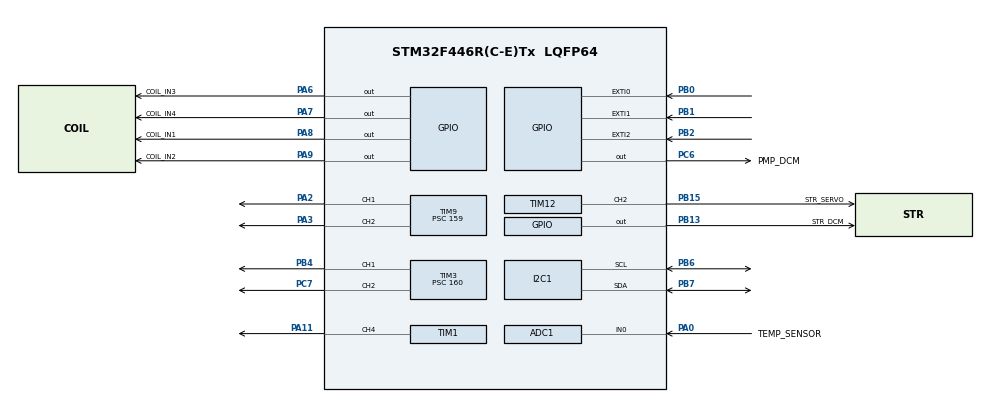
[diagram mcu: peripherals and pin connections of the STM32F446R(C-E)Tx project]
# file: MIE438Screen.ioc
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ADC1.Channel-0\#ChannelRegularConversion=ADC_CHANNEL_0
ADC1.NbrOfConversionFlag=1
ADC1.Rank-0\#ChannelRegularConversion=1
ADC1.SamplingTime-0\#ChannelRegularConversion=ADC_SAMPLETIME_3CYCLES
ADC1.master=1
Mcu.Family=STM32F4
Mcu.Name=STM32F446R(C-E)Tx
Mcu.Package=LQFP64
NVIC.EXTI0_IRQn=true\:0\:0\:false\:false\:true\:true\:true\:true
NVIC.EXTI1_IRQn=true\:0\:0\:false\:false\:true\:true\:true\:true
NVIC.EXTI2_IRQn=true\:0\:0\:false\:false\:true\:true\:true\:true
NVIC.PriorityGroup=NVIC_PRIORITYGROUP_4
NVIC.TIM2_IRQn=true\:0\:0\:false\:false\:true\:true\:true\:true
PA0-WKUP.GPIO_Label=TEMP_SENSOR
PA0-WKUP.Signal=ADCx_IN0
PA11.Signal=S_TIM1_CH4
PA2.Signal=S_TIM9_CH1
PA3.Signal=S_TIM9_CH2
PA6.GPIO_Label=COIL_IN3
PA6.Signal=GPIO_Output
PA7.GPIO_Label=COIL_IN4
PA7.Signal=GPIO_Output
PA8.GPIO_Label=COIL_IN1
PA8.Signal=GPIO_Output
PA9.GPIO_Label=COIL_IN2
PA9.Signal=GPIO_Output
PB0.GPIO_ModeDefaultEXTI=GPIO_MODE_IT_FALLING
PB0.GPIO_PuPd=GPIO_PULLUP
PB0.Signal=GPXTI0
PB1.GPIO_ModeDefaultEXTI=GPIO_MODE_IT_FALLING
PB1.GPIO_PuPd=GPIO_PULLUP
PB1.Signal=GPXTI1
PB13.GPIO_Label=STR_DCM
PB13.Signal=GPIO_Output
PB15.GPIO_Label=STR_SERVO
PB15.Signal=S_TIM12_CH2
PB2.GPIO_ModeDefaultEXTI=GPIO_MODE_IT_FALLING
PB2.GPIO_PuPd=GPIO_PULLUP
PB2.Signal=GPXTI2
PB4.Signal=S_TIM3_CH1
PB6.Mode=I2C
PB6.Signal=I2C1_SCL
PB7.Mode=I2C
PB7.Signal=I2C1_SDA
PC6.GPIO_Label=PMP_DCM
PC6.Signal=GPIO_Output
PC7.Signal=S_TIM3_CH2
ProjectManager.HeapSize=0x200
ProjectManager.StackSize=0x400
ProjectManager.TargetToolchain=STM32CubeIDE
RCC.CortexFreq_Value=16000000
RCC.USBFreq_Value=96000000
RCC.VCOOutputFreq_Value=192000000
SH.ADCx_IN0.0=ADC1_IN0,IN0
SH.S_TIM12_CH2.0=TIM12_CH2,PWM Generation2 CH2
SH.S_TIM1_CH4.0=TIM1_CH4,PWM Generation4 CH4
SH.S_TIM3_CH1.0=TIM3_CH1,PWM Generation1 CH1
SH.S_TIM3_CH2.0=TIM3_CH2,PWM Generation2 CH2
SH.S_TIM9_CH1.0=TIM9_CH1,PWM Generation1 CH1
SH.S_TIM9_CH2.0=TIM9_CH2,PWM Generation2 CH2
TIM1.Channel-PWM\ Generation4\ CH4=TIM_CHANNEL_4
TIM1.Period=2000
TIM1.Prescaler=160
TIM1.Pulse-PWM\ Generation4\ CH4=50
TIM12.Channel-PWM\ Generation2\ CH2=TIM_CHANNEL_2
TIM12.Period=1999
TIM12.Prescaler=159
TIM12.Pulse-PWM\ Generation2\ CH2=50
TIM2.AutoReloadPreload=TIM_AUTORELOAD_PRELOAD_DISABLE
TIM2.Period=2200
TIM2.Prescaler=2399
TIM3.Channel-PWM\ Generation1\ CH1=TIM_CHANNEL_1
TIM3.Channel-PWM\ Generation2\ CH2=TIM_CHANNEL_2
TIM3.Period=2000
TIM3.Prescaler=160
TIM3.Pulse-PWM\ Generation1\ CH1=50
TIM3.Pulse-PWM\ Generation2\ CH2=50
TIM9.Channel-PWM\ Generation1\ CH1=TIM_CHANNEL_1
TIM9.Channel-PWM\ Generation2\ CH2=TIM_CHANNEL_2
TIM9.Period=1999
TIM9.Prescaler=159
TIM9.Pulse-PWM\ Generation2\ CH2=0
VP_TIM12_VS_ClockSourceINT.Mode=Internal
VP_TIM1_VS_ClockSourceINT.Mode=Internal
VP_TIM2_VS_ClockSourceINT.Mode=Internal
VP_TIM3_VS_ClockSourceINT.Mode=Internal
VP_TIM9_VS_ClockSourceINT.Mode=Internal
board=custom

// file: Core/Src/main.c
/* USER CODE BEGIN Header */
/**
  ******************************************************************************
  * @file           : main.c
  * @brief          : Main program body
  ******************************************************************************
  * @attention
  *
  * Copyright (c) 2026 STMicroelectronics.
  * All rights reserved.
  *
  * This software is licensed under terms that can be found in the LICENSE file
  * in the root directory of this software component.
  * If no LICENSE file comes with this software, it is provided AS-IS.
  *
  ******************************************************************************
  */
/* USER CODE END Header */
#include "main.h"

/* USER CODE BEGIN Includes */
#include "ssd1306.h"
#include "characters.h"
#include "screen.h"
#include <stdint.h>
#include <stdbool.h>
#include <math.h>
#include <stdlib.h>

/* USER CODE END Includes */

/* USER CODE BEGIN PD */
/* --- Stirrer Configurations --- */
// Note: These pulse limits assume your TIM12 is set to a 1 MHz clock counting to 20000 (for 50Hz / 20ms period).
// This is typical: e.g., Prescaler = (SystemCoreClock / 1000000) - 1, Counter Period (ARR) = 20000 - 1
#define SERVO_DOWN_PULSE 40 // (~1.0ms pulse) Inside cup
#define SERVO_UP_PULSE   90 // (~1.5ms pulse) 45 deg outside cup

// If we need to toggle the motor
#define STIR_MOTOR_ON  GPIO_PIN_SET
#define STIR_MOTOR_OFF GPIO_PIN_RESET

/* --- Tea servo Configurations --- */
// Note: These pulse limits assume your TIM3 is set to a 1 MHz clock counting to 20000 (for 50Hz / 20ms period).
#define TEA_SERVO_POSITION_0   180 // (~1.0ms pulse) 0 degrees
#define TEA_SERVO_POSITION_180 0 // (~2.0ms pulse) 180 degrees

/* --- Stepper Motor Configurations --- */
#define STEPS_PER_REV 200
#define MICROSTEP_MULTIPLIER 1
#define TOTAL_STEPS (STEPS_PER_REV * MICROSTEP_MULTIPLIER)

/* ---- Kettle bounds --- */
#define LOWER_BOUND 50.0
#define UPPER_BOUND 70.0

// --- Kettle servo ---
#define KETTLE_UP_PULSE 57
#define KETTLE_DOWN_PULSE 0

// --- central stepper location angles ---
#define POWDER_ANGLE 180
#define STUR_ANGLE 242
#define TEA_BAG_ANGLE 145
#define WATER_ANGLE 297
#define RETURN_ANGLE_BONUS 5 // used to ensure the arm gets back to the home point

// --- delay times for physical motion ---
#define STEPPER_DELAY 80
#define BAG_DELAY 2000
#define STURRER_SERVO 1000
#define STURRER_MOTOR 6000
#define TEA_DELAY 1000
#define GENERAL_DELAY 1000

// --- time to run each of the individual components ---
#define PUMP_DURATION 7500
#define POWDER_TIME 7000

/* USER CODE END PD */

ADC_HandleTypeDef hadc1;

I2C_HandleTypeDef hi2c1;

TIM_HandleTypeDef htim1;
TIM_HandleTypeDef htim2;
TIM_HandleTypeDef htim3;
TIM_HandleTypeDef htim9;
TIM_HandleTypeDef htim12;

/* USER CODE BEGIN PV */
const uint8_t step_sequence[4][4] = {
  {1, 0, 1, 0}, // Step 0: Coil A Forward, Coil B Forward
  {0, 1, 1, 0}, // Step 1: Coil A Reverse, Coil B Forward
  {0, 1, 0, 1}, // Step 2: Coil A Reverse, Coil B Reverse
  {1, 0, 0, 1}  // Step 3: Coil A Forward, Coil B Reverse
};

int8_t current_step_index = 0;
volatile uint32_t steps_remaining = 0;
volatile uint8_t stepper_direction = 0;
volatile uint8_t stepper_running = 0;

// For screen communication
I2C_HandleTypeDef hi2c1;

// Used to track the state of the screen
volatile uint8_t command = 0b00;
uint8_t order = 0b0000;
uint8_t state = 0;

// Debounce for buttons
volatile uint32_t last_press_time[3] = {0,0,0};

// kettle temperature variables
uint32_t temp = 0;
uint8_t kettle_status = 1;
volatile float tempC = 0;
float curr_temp;

/* USER CODE END PV */

void SystemClock_Config(void);
static void MX_GPIO_Init(void);
static void MX_I2C1_Init(void);
static void MX_TIM12_Init(void);
static void MX_ADC1_Init(void);
static void MX_TIM1_Init(void);
static void MX_TIM3_Init(void);
static void MX_TIM2_Init(void);
static void MX_TIM9_Init(void);
/* USER CODE BEGIN PFP */

int map_servo(int value);

// --- Stepper Motor Functions ---
void setMotorPins(uint8_t step);
void takeSingleStep(uint8_t clockwise);
void rotateToAngle(float angle, uint8_t clockwise);

// --- Stirrer Functions ---
void Stirrer_Servo_Move(uint8_t pulse_width);
void Stirrer_Motor_Set(GPIO_PinState state);
void Stirrer_Cycle(void);

// --- Powder Dispenser Functions ---
void Dispenser_Motor_Set(uint8_t state);
void Dispenser_Run(uint8_t pulse_width);

// --- Pump Functions ---
void Pump_Init(void);
void Pump_Motor_Set(uint8_t state);
void Pump_Run(uint32_t duration_ms);

// --- Kettle Functions ---
void Kettle_Servo_Move(uint8_t pulse_width);
void servo_kettle(uint8_t status);
float temp_sensor(void);

// --- Tea bag ---
void Tea_Servo_Move(uint8_t pulse_width);
void dispense_tea(void);

// --- Screen functions ---
//Screen initializations
struct Screen* init_home(void);
struct Screen* init_drink(void);
struct Screen* init_confirm(void);
struct Screen* init_prepare(void);

//Screen printing
void Print_Screen(struct Screen* screen);

//Screen navagation
struct Screen* Advance_Screen(struct Screen* screen, int direction);
void Advance_Screen_State(struct Screen* screen, int direction);

// Actually Making coffee
void make_coffee(uint8_t order);
/* USER CODE END PFP */

int main(void)
{

  /* MCU Configuration--------------------------------------------------------*/

  /* Reset of all peripherals, Initializes the Flash interface and the Systick. */
  HAL_Init();

  /* Configure the system clock */
  SystemClock_Config();

  /* Initialize all configured peripherals */
  MX_GPIO_Init();
  MX_I2C1_Init();
  MX_TIM12_Init();
  MX_ADC1_Init();
  MX_TIM1_Init();
  MX_TIM3_Init();
  MX_TIM2_Init();
  MX_TIM9_Init();
  /* USER CODE BEGIN 2 */
	// Initialize pump
	Pump_Init();
	Dispenser_Run(90);

  //initiallize screen pointers
	struct Screen *home = NULL;
	struct Screen *drink = NULL;
	struct Screen *confirm = NULL;
	struct Screen *prepare = NULL;

	// run initilization functions
	home = init_home();
	drink = init_drink();
	confirm = init_confirm();
	prepare = init_prepare();

	// make links between the screens
	home->next = drink;
	drink->next = confirm;
	drink->previous = home;
	confirm->next = prepare;
	confirm->previous = drink;
	prepare->next = home;

	//Turn on/clear/initialize screen
	SSD1306_Init();
	SSD1306_Fill(1);
	SSD1306_Update();
	SSD1306_Fill(0);
	SSD1306_Update();
	struct Screen* cur_screen = home;
	Print_Screen(cur_screen);
	SSD1306_Update();

	// Start the TIM12 PWM output for the Stirrer Servo (PB15 -> TIM12_CH2)
	//extern TIM_HandleTypeDef htim12;
	HAL_TIM_PWM_Start(&htim12, TIM_CHANNEL_2);

	// Start the TIM3 PWM output for the Tea Servo (PC7 -> TIM3_CH2)
	//extern TIM_HandleTypeDef htim3;
	HAL_TIM_PWM_Start(&htim3, TIM_CHANNEL_1);
	HAL_TIM_PWM_Start(&htim3, TIM_CHANNEL_2);

	// Start the TIM1 PWM output for the kettle Servo (PA11 -> TIM1_CH4)
	//extern TIM_HandleTypeDef htim1;
	HAL_TIM_PWM_Start(&htim1, TIM_CHANNEL_4);

	// Start the TIM9 PWM output for the kettle Servo (PA3 -> TIM9_CH2)
	//extern TIM_HandleTypeDef htim1;
	HAL_TIM_PWM_Start(&htim9, TIM_CHANNEL_2);

	// Enable timer for stepper control
	HAL_TIM_Base_Start_IT(&htim2);

	// Initialize servo out of the cup
	Stirrer_Servo_Move(SERVO_UP_PULSE);
	HAL_Delay(500);

	// Initialize tea servo to 0 position
	Tea_Servo_Move(TEA_SERVO_POSITION_0);
	HAL_Delay(500);

  /* USER CODE END 2 */

  /* Infinite loop */
  /* USER CODE BEGIN WHILE */
  while (1)
  {
	  curr_temp = temp_sensor();
	  //Control Loop
	  if(curr_temp < LOWER_BOUND && kettle_status == 0){
		//Kettle On
		kettle_status = 1;
		servo_kettle(kettle_status);
	  }
	  else if(curr_temp > UPPER_BOUND && kettle_status == 1){
		//Kettle Off
		kettle_status = 0;
		servo_kettle(kettle_status);
	  }
    /* USER CODE END WHILE */

    /* USER CODE BEGIN 3 */

	  if(command != 0){ // check flag variable to see if ANY button has been pressed
		  // what each command corresponds to can be found in the HAL_GPIO_EXTI_Callback function
		  if(command == 0b10){ //check specific code (checks for down)
			  Advance_Screen_State(cur_screen, 1);
			  SSD1306_Update();
		  } else if(command == 0b01){ //check specific code (checks for up)
			  Advance_Screen_State(cur_screen, -1);
			  SSD1306_Update();
		  } else { //check specific code (checks for select)
			  // select ALWAYS updates the overall screen, not just the screen specific state
			  // therefore, clear the screen then run the logic to determine what should be done next
			  // see screen.h for detailed comments on how the screen works
			  SSD1306_Fill(0);
			  // this layer deals with checking the state to handle the specific logic per screen
			  /*
			   * note that if any screens were to have identical button functionality, they could be combined
			   * this is because none of the functionality is screen-specific, just executed differently
			   */
			  if(state == 0){// home screen
				  //always advances
				  cur_screen = Advance_Screen(cur_screen, 1);
				  Print_Screen(cur_screen);
				  SSD1306_Update();
				  state = 1;
			  } else if(state == 1){ // drink screen
				  /*
				   * order is used to pass what the user selects to make_coffee which handles all the logic of the electro-mechinical system
				   * each bit is a boolean for a specific physical station
				   * this allows adding new functionality to be as easy as extending order and adding th masking logic to make_coffee
				   * order bit table:
				   * LSB: sturring station
				   * 	  tea bag station
				   * 	  coffee powder station
				   * MSB: hot water station
				   */
				  if(cur_screen->state != 3){// NOT back button
					  if(cur_screen->state == 0){// coffee
						  order = 0b1101;
					  } else if(cur_screen->state == 1){// tea
						  order = 0b1010;
					  } else if(cur_screen->state == 2){// water
						  order = 0b1000;
					  }
					  cur_screen = Advance_Screen(cur_screen, 1);
					  Print_Screen(cur_screen);
					  SSD1306_Update();
					  state = 2;
				  } else { // back button
					  order = 0b0000; // reset order variable
					  cur_screen = Advance_Screen(cur_screen, 0);
					  Print_Screen(cur_screen);
					  SSD1306_Update();
					  state = 0;
				  }
			  } else if(state == 2){ // confirm
				  if(cur_screen->state == 0){ // run the making coffee process
					  cur_screen = Advance_Screen(cur_screen, 1);
					  Print_Screen(cur_screen);
					  SSD1306_Update();

					  //__disable_irq(); // disable interrupts while drink is made
					  make_coffee(order); // pass order to drink making function
					  HAL_Delay(100);

					  SSD1306_Fill(0);
					  cur_screen = Advance_Screen(cur_screen, 1);
					  Print_Screen(cur_screen);
					  SSD1306_Update();
					  state = 0;

					  //__enable_irq(); // reenable interrupts
				  } else { // back button
					  cur_screen = Advance_Screen(cur_screen, 0);
					  Print_Screen(cur_screen);
					  SSD1306_Update();
					  state = 1;
				  }
				  order = 0b0000; // reset order variable
			  }
		  }
		  command = 0b00; // reset command variable
	  }
  }
  /* USER CODE END 3 */
}

void SystemClock_Config(void)
{
  RCC_OscInitTypeDef RCC_OscInitStruct = {0};
  RCC_ClkInitTypeDef RCC_ClkInitStruct = {0};

  /** Configure the main internal regulator output voltage
  */
  __HAL_RCC_PWR_CLK_ENABLE();
  __HAL_PWR_VOLTAGESCALING_CONFIG(PWR_REGULATOR_VOLTAGE_SCALE3);

  /** Initializes the RCC Oscillators according to the specified parameters
  * in the RCC_OscInitTypeDef structure.
  */
  RCC_OscInitStruct.OscillatorType = RCC_OSCILLATORTYPE_HSI;
  RCC_OscInitStruct.HSIState = RCC_HSI_ON;
  RCC_OscInitStruct.HSICalibrationValue = RCC_HSICALIBRATION_DEFAULT;
  RCC_OscInitStruct.PLL.PLLState = RCC_PLL_NONE;
  if (HAL_RCC_OscConfig(&RCC_OscInitStruct) != HAL_OK)
  {
    Error_Handler();
  }

  /** Initializes the CPU, AHB and APB buses clocks
  */
  RCC_ClkInitStruct.ClockType = RCC_CLOCKTYPE_HCLK|RCC_CLOCKTYPE_SYSCLK
                              |RCC_CLOCKTYPE_PCLK1|RCC_CLOCKTYPE_PCLK2;
  RCC_ClkInitStruct.SYSCLKSource = RCC_SYSCLKSOURCE_HSI;
  RCC_ClkInitStruct.AHBCLKDivider = RCC_SYSCLK_DIV1;
  RCC_ClkInitStruct.APB1CLKDivider = RCC_HCLK_DIV1;
  RCC_ClkInitStruct.APB2CLKDivider = RCC_HCLK_DIV1;

  if (HAL_RCC_ClockConfig(&RCC_ClkInitStruct, FLASH_LATENCY_0) != HAL_OK)
  {
    Error_Handler();
  }
}

static void MX_ADC1_Init(void)
{

  ADC_ChannelConfTypeDef sConfig = {0};

  /** Configure the global features of the ADC (Clock, Resolution, Data Alignment and number of conversion)
  */
  hadc1.Instance = ADC1;
  hadc1.Init.ClockPrescaler = ADC_CLOCK_SYNC_PCLK_DIV2;
  hadc1.Init.Resolution = ADC_RESOLUTION_12B;
  hadc1.Init.ScanConvMode = DISABLE;
  hadc1.Init.ContinuousConvMode = DISABLE;
  hadc1.Init.DiscontinuousConvMode = DISABLE;
  hadc1.Init.ExternalTrigConvEdge = ADC_EXTERNALTRIGCONVEDGE_NONE;
  hadc1.Init.ExternalTrigConv = ADC_SOFTWARE_START;
  hadc1.Init.DataAlign = ADC_DATAALIGN_RIGHT;
  hadc1.Init.NbrOfConversion = 1;
  hadc1.Init.DMAContinuousRequests = DISABLE;
  hadc1.Init.EOCSelection = ADC_EOC_SINGLE_CONV;
  if (HAL_ADC_Init(&hadc1) != HAL_OK)
  {
    Error_Handler();
  }

  /** Configure for the selected ADC regular channel its corresponding rank in the sequencer and its sample time.
  */
  sConfig.Channel = ADC_CHANNEL_0;
  sConfig.Rank = 1;
  sConfig.SamplingTime = ADC_SAMPLETIME_3CYCLES;
  if (HAL_ADC_ConfigChannel(&hadc1, &sConfig) != HAL_OK)
  {
    Error_Handler();
  }

}

static void MX_I2C1_Init(void)
{

  hi2c1.Instance = I2C1;
  hi2c1.Init.ClockSpeed = 100000;
  hi2c1.Init.DutyCycle = I2C_DUTYCYCLE_2;
  hi2c1.Init.OwnAddress1 = 0;
  hi2c1.Init.AddressingMode = I2C_ADDRESSINGMODE_7BIT;
  hi2c1.Init.DualAddressMode = I2C_DUALADDRESS_DISABLE;
  hi2c1.Init.OwnAddress2 = 0;
  hi2c1.Init.GeneralCallMode = I2C_GENERALCALL_DISABLE;
  hi2c1.Init.NoStretchMode = I2C_NOSTRETCH_DISABLE;
  if (HAL_I2C_Init(&hi2c1) != HAL_OK)
  {
    Error_Handler();
  }

}

static void MX_TIM1_Init(void)
{

  TIM_ClockConfigTypeDef sClockSourceConfig = {0};
  TIM_MasterConfigTypeDef sMasterConfig = {0};
  TIM_OC_InitTypeDef sConfigOC = {0};
  TIM_BreakDeadTimeConfigTypeDef sBreakDeadTimeConfig = {0};

  htim1.Instance = TIM1;
  htim1.Init.Prescaler = 160;
  htim1.Init.CounterMode = TIM_COUNTERMODE_UP;
  htim1.Init.Period = 2000;
  htim1.Init.ClockDivision = TIM_CLOCKDIVISION_DIV1;
  htim1.Init.RepetitionCounter = 0;
  htim1.Init.AutoReloadPreload = TIM_AUTORELOAD_PRELOAD_DISABLE;
  if (HAL_TIM_Base_Init(&htim1) != HAL_OK)
  {
    Error_Handler();
  }
  sClockSourceConfig.ClockSource = TIM_CLOCKSOURCE_INTERNAL;
  if (HAL_TIM_ConfigClockSource(&htim1, &sClockSourceConfig) != HAL_OK)
  {
    Error_Handler();
  }
  if (HAL_TIM_PWM_Init(&htim1) != HAL_OK)
  {
    Error_Handler();
  }
  sMasterConfig.MasterOutputTrigger = TIM_TRGO_RESET;
  sMasterConfig.MasterSlaveMode = TIM_MASTERSLAVEMODE_DISABLE;
  if (HAL_TIMEx_MasterConfigSynchronization(&htim1, &sMasterConfig) != HAL_OK)
  {
    Error_Handler();
  }
  sConfigOC.OCMode = TIM_OCMODE_PWM1;
  sConfigOC.Pulse = 50;
  sConfigOC.OCPolarity = TIM_OCPOLARITY_HIGH;
  sConfigOC.OCFastMode = TIM_OCFAST_DISABLE;
  sConfigOC.OCIdleState = TIM_OCIDLESTATE_RESET;
  sConfigOC.OCNIdleState = TIM_OCNIDLESTATE_RESET;
  if (HAL_TIM_PWM_ConfigChannel(&htim1, &sConfigOC, TIM_CHANNEL_4) != HAL_OK)
  {
    Error_Handler();
  }
  sBreakDeadTimeConfig.OffStateRunMode = TIM_OSSR_DISABLE;
  sBreakDeadTimeConfig.OffStateIDLEMode = TIM_OSSI_DISABLE;
  sBreakDeadTimeConfig.LockLevel = TIM_LOCKLEVEL_OFF;
  sBreakDeadTimeConfig.DeadTime = 0;
  sBreakDeadTimeConfig.BreakState = TIM_BREAK_DISABLE;
  sBreakDeadTimeConfig.BreakPolarity = TIM_BREAKPOLARITY_HIGH;
  sBreakDeadTimeConfig.AutomaticOutput = TIM_AUTOMATICOUTPUT_DISABLE;
  if (HAL_TIMEx_ConfigBreakDeadTime(&htim1, &sBreakDeadTimeConfig) != HAL_OK)
  {
    Error_Handler();
  }
  HAL_TIM_MspPostInit(&htim1);

}

static void MX_TIM2_Init(void)
{

  TIM_ClockConfigTypeDef sClockSourceConfig = {0};
  TIM_MasterConfigTypeDef sMasterConfig = {0};

  htim2.Instance = TIM2;
  htim2.Init.Prescaler = 2399;
  htim2.Init.CounterMode = TIM_COUNTERMODE_UP;
  htim2.Init.Period = 2200;
  htim2.Init.ClockDivision = TIM_CLOCKDIVISION_DIV1;
  htim2.Init.AutoReloadPreload = TIM_AUTORELOAD_PRELOAD_DISABLE;
  if (HAL_TIM_Base_Init(&htim2) != HAL_OK)
  {
    Error_Handler();
  }
  sClockSourceConfig.ClockSource = TIM_CLOCKSOURCE_INTERNAL;
  if (HAL_TIM_ConfigClockSource(&htim2, &sClockSourceConfig) != HAL_OK)
  {
    Error_Handler();
  }
  sMasterConfig.MasterOutputTrigger = TIM_TRGO_RESET;
  sMasterConfig.MasterSlaveMode = TIM_MASTERSLAVEMODE_DISABLE;
  if (HAL_TIMEx_MasterConfigSynchronization(&htim2, &sMasterConfig) != HAL_OK)
  {
    Error_Handler();
  }

}

static void MX_TIM3_Init(void)
{

  TIM_ClockConfigTypeDef sClockSourceConfig = {0};
  TIM_MasterConfigTypeDef sMasterConfig = {0};
  TIM_OC_InitTypeDef sConfigOC = {0};

  htim3.Instance = TIM3;
  htim3.Init.Prescaler = 160;
  htim3.Init.CounterMode = TIM_COUNTERMODE_UP;
  htim3.Init.Period = 2000;
  htim3.Init.ClockDivision = TIM_CLOCKDIVISION_DIV1;
  htim3.Init.AutoReloadPreload = TIM_AUTORELOAD_PRELOAD_DISABLE;
  if (HAL_TIM_Base_Init(&htim3) != HAL_OK)
  {
    Error_Handler();
  }
  sClockSourceConfig.ClockSource = TIM_CLOCKSOURCE_INTERNAL;
  if (HAL_TIM_ConfigClockSource(&htim3, &sClockSourceConfig) != HAL_OK)
  {
    Error_Handler();
  }
  if (HAL_TIM_PWM_Init(&htim3) != HAL_OK)
  {
    Error_Handler();
  }
  sMasterConfig.MasterOutputTrigger = TIM_TRGO_RESET;
  sMasterConfig.MasterSlaveMode = TIM_MASTERSLAVEMODE_DISABLE;
  if (HAL_TIMEx_MasterConfigSynchronization(&htim3, &sMasterConfig) != HAL_OK)
  {
    Error_Handler();
  }
  sConfigOC.OCMode = TIM_OCMODE_PWM1;
  sConfigOC.Pulse = 50;
  sConfigOC.OCPolarity = TIM_OCPOLARITY_HIGH;
  sConfigOC.OCFastMode = TIM_OCFAST_DISABLE;
  if (HAL_TIM_PWM_ConfigChannel(&htim3, &sConfigOC, TIM_CHANNEL_1) != HAL_OK)
  {
    Error_Handler();
  }
  if (HAL_TIM_PWM_ConfigChannel(&htim3, &sConfigOC, TIM_CHANNEL_2) != HAL_OK)
  {
    Error_Handler();
  }
  HAL_TIM_MspPostInit(&htim3);

}

static void MX_TIM9_Init(void)
{

  TIM_ClockConfigTypeDef sClockSourceConfig = {0};
  TIM_OC_InitTypeDef sConfigOC = {0};

  htim9.Instance = TIM9;
  htim9.Init.Prescaler = 159;
  htim9.Init.CounterMode = TIM_COUNTERMODE_UP;
  htim9.Init.Period = 1999;
  htim9.Init.ClockDivision = TIM_CLOCKDIVISION_DIV1;
  htim9.Init.AutoReloadPreload = TIM_AUTORELOAD_PRELOAD_DISABLE;
  if (HAL_TIM_Base_Init(&htim9) != HAL_OK)
  {
    Error_Handler();
  }
  sClockSourceConfig.ClockSource = TIM_CLOCKSOURCE_INTERNAL;
  if (HAL_TIM_ConfigClockSource(&htim9, &sClockSourceConfig) != HAL_OK)
  {
    Error_Handler();
  }
  if (HAL_TIM_PWM_Init(&htim9) != HAL_OK)
  {
    Error_Handler();
  }
  sConfigOC.OCMode = TIM_OCMODE_PWM1;
  sConfigOC.Pulse = 0;
  sConfigOC.OCPolarity = TIM_OCPOLARITY_HIGH;
  sConfigOC.OCFastMode = TIM_OCFAST_DISABLE;
  if (HAL_TIM_PWM_ConfigChannel(&htim9, &sConfigOC, TIM_CHANNEL_1) != HAL_OK)
  {
    Error_Handler();
  }
  if (HAL_TIM_PWM_ConfigChannel(&htim9, &sConfigOC, TIM_CHANNEL_2) != HAL_OK)
  {
    Error_Handler();
  }
  HAL_TIM_MspPostInit(&htim9);

}

static void MX_TIM12_Init(void)
{

  TIM_ClockConfigTypeDef sClockSourceConfig = {0};
  TIM_OC_InitTypeDef sConfigOC = {0};

  htim12.Instance = TIM12;
  htim12.Init.Prescaler = 159;
  htim12.Init.CounterMode = TIM_COUNTERMODE_UP;
  htim12.Init.Period = 1999;
  htim12.Init.ClockDivision = TIM_CLOCKDIVISION_DIV1;
  htim12.Init.AutoReloadPreload = TIM_AUTORELOAD_PRELOAD_DISABLE;
  if (HAL_TIM_Base_Init(&htim12) != HAL_OK)
  {
    Error_Handler();
  }
  sClockSourceConfig.ClockSource = TIM_CLOCKSOURCE_INTERNAL;
  if (HAL_TIM_ConfigClockSource(&htim12, &sClockSourceConfig) != HAL_OK)
  {
    Error_Handler();
  }
  if (HAL_TIM_PWM_Init(&htim12) != HAL_OK)
  {
    Error_Handler();
  }
  sConfigOC.OCMode = TIM_OCMODE_PWM1;
  sConfigOC.Pulse = 50;
  sConfigOC.OCPolarity = TIM_OCPOLARITY_HIGH;
  sConfigOC.OCFastMode = TIM_OCFAST_DISABLE;
  if (HAL_TIM_PWM_ConfigChannel(&htim12, &sConfigOC, TIM_CHANNEL_2) != HAL_OK)
  {
    Error_Handler();
  }
  HAL_TIM_MspPostInit(&htim12);

}

static void MX_GPIO_Init(void)
{
  GPIO_InitTypeDef GPIO_InitStruct = {0};

  /* GPIO Ports Clock Enable */
  __HAL_RCC_GPIOA_CLK_ENABLE();
  __HAL_RCC_GPIOB_CLK_ENABLE();
  __HAL_RCC_GPIOC_CLK_ENABLE();

  /*Configure GPIO pin Output Level */
  HAL_GPIO_WritePin(GPIOA, COIL_IN3_Pin|COIL_IN4_Pin|COIL_IN1_Pin|COIL_IN2_Pin, GPIO_PIN_RESET);

  /*Configure GPIO pin Output Level */
  HAL_GPIO_WritePin(STR_DCM_GPIO_Port, STR_DCM_Pin, GPIO_PIN_RESET);

  /*Configure GPIO pin Output Level */
  HAL_GPIO_WritePin(PMP_DCM_GPIO_Port, PMP_DCM_Pin, GPIO_PIN_RESET);

  /*Configure GPIO pins : COIL_IN3_Pin COIL_IN4_Pin COIL_IN1_Pin COIL_IN2_Pin */
  GPIO_InitStruct.Pin = COIL_IN3_Pin|COIL_IN4_Pin|COIL_IN1_Pin|COIL_IN2_Pin;
  GPIO_InitStruct.Mode = GPIO_MODE_OUTPUT_PP;
  GPIO_InitStruct.Pull = GPIO_NOPULL;
  GPIO_InitStruct.Speed = GPIO_SPEED_FREQ_LOW;
  HAL_GPIO_Init(GPIOA, &GPIO_InitStruct);

  /*Configure GPIO pins : PB0 PB1 PB2 */
  GPIO_InitStruct.Pin = GPIO_PIN_0|GPIO_PIN_1|GPIO_PIN_2;
  GPIO_InitStruct.Mode = GPIO_MODE_IT_FALLING;
  GPIO_InitStruct.Pull = GPIO_PULLUP;
  HAL_GPIO_Init(GPIOB, &GPIO_InitStruct);

  /*Configure GPIO pin : STR_DCM_Pin */
  GPIO_InitStruct.Pin = STR_DCM_Pin;
  GPIO_InitStruct.Mode = GPIO_MODE_OUTPUT_PP;
  GPIO_InitStruct.Pull = GPIO_NOPULL;
  GPIO_InitStruct.Speed = GPIO_SPEED_FREQ_LOW;
  HAL_GPIO_Init(STR_DCM_GPIO_Port, &GPIO_InitStruct);

  /*Configure GPIO pin : PMP_DCM_Pin */
  GPIO_InitStruct.Pin = PMP_DCM_Pin;
  GPIO_InitStruct.Mode = GPIO_MODE_OUTPUT_PP;
  GPIO_InitStruct.Pull = GPIO_NOPULL;
  GPIO_InitStruct.Speed = GPIO_SPEED_FREQ_LOW;
  HAL_GPIO_Init(PMP_DCM_GPIO_Port, &GPIO_InitStruct);

  /* EXTI interrupt init*/
  HAL_NVIC_SetPriority(EXTI0_IRQn, 0, 0);
  HAL_NVIC_EnableIRQ(EXTI0_IRQn);

  HAL_NVIC_SetPriority(EXTI1_IRQn, 0, 0);
  HAL_NVIC_EnableIRQ(EXTI1_IRQn);

  HAL_NVIC_SetPriority(EXTI2_IRQn, 0, 0);
  HAL_NVIC_EnableIRQ(EXTI2_IRQn);

}

/* USER CODE BEGIN 4 */

int map_servo(int angle)
{
    return (1.0*(angle))/((180)*1.0) * (250-50)+50;
}

void Stirrer_Servo_Move(uint8_t pulse_width) {
    // Uses TIM12 Channel 2 for the servo on PB15
	htim12.Instance->CCR2 = map_servo(pulse_width);
}

void Stirrer_Motor_Set(uint8_t state) {
    // Toggles the DC Motor (PB13). Ensure STR_DCM is the label for PB14 in CubeIDE
    // Assuming CubeIDE generated STR_DCM_GPIO_Port and STR_DCM_Pin
	// The motoro is small enough that 3.3 volts is well enough (and we don't trigger OCP)
    if(state == 1){
    	HAL_GPIO_WritePin(STR_DCM_GPIO_Port, STR_DCM_Pin, GPIO_PIN_SET);
    } else {
    	HAL_GPIO_WritePin(STR_DCM_GPIO_Port, STR_DCM_Pin, GPIO_PIN_RESET);
    }
}

void Stirrer_Cycle(void) {
    // 1. Move servo into the cup
    Stirrer_Servo_Move(SERVO_DOWN_PULSE);
    HAL_Delay(GENERAL_DELAY); // 1 second mechanical delay to reach the fluid

    // 2. Start stirring
    Stirrer_Motor_Set(1);
    HAL_Delay(STURRER_MOTOR); // Stir for 3 seconds

    // 3. Stop stirring
    Stirrer_Motor_Set(0);

    // 4. Move servo back out of the cup
    Stirrer_Servo_Move(SERVO_UP_PULSE);
    HAL_Delay(GENERAL_DELAY); // 1 second mechanical delay to reach home
}

// --- Tea Bag Functions ---
/*
 * The tea bag dispenser is a scotch yoke
 * therefore the servo just rotates 180 degrees each way
 */
void Tea_Servo_Move(uint8_t pulse_width) {
    // Uses TIM3 Channel 2 for the servo on PC7
	htim3.Instance->CCR1 = map_servo(pulse_width);
}

void dispense_tea(void) {
    // 1. Move servo 180 degrees to dump tea bag
    Tea_Servo_Move(TEA_SERVO_POSITION_180);
    HAL_Delay(TEA_DELAY); // 1 second mechanical delay

    // 2. Return servo to 0 degrees starting position
    Tea_Servo_Move(TEA_SERVO_POSITION_0);
    HAL_Delay(TEA_DELAY); // 1 second return delay
}

/*
// --- Powder Dispenser Functions ---
void Dispenser_Motor_Set(uint8_t state) {
    if (state) {
        HAL_GPIO_WritePin(DSP_DCM_GPIO_Port, DSP_DCM_Pin, GPIO_PIN_SET);
    } else {
        HAL_GPIO_WritePin(DSP_DCM_GPIO_Port, DSP_DCM_Pin, GPIO_PIN_RESET);
    }
}
*/

/*
 * The powder dispenser is an archimedies screw that is fed by a hopper
 * turning the dc motor dispense powder
 * The motor is considerably more powerful than we need, thus PWM
 */
void Dispenser_Run(uint8_t pulse_width) {
    // Uses TIM3 Channel 2 for the powder dispense on PB14
	htim3.Instance->CCR2 = map_servo(pulse_width);
}

//Stepper Motor
void setMotorPins(uint8_t step) {
    HAL_GPIO_WritePin(COIL_IN1_GPIO_Port, COIL_IN1_Pin, step_sequence[step][0] ? GPIO_PIN_SET : GPIO_PIN_RESET);
    HAL_GPIO_WritePin(COIL_IN2_GPIO_Port, COIL_IN2_Pin, step_sequence[step][1] ? GPIO_PIN_SET : GPIO_PIN_RESET);
    HAL_GPIO_WritePin(COIL_IN3_GPIO_Port, COIL_IN3_Pin, step_sequence[step][2] ? GPIO_PIN_SET : GPIO_PIN_RESET);
    HAL_GPIO_WritePin(COIL_IN4_GPIO_Port, COIL_IN4_Pin, step_sequence[step][3] ? GPIO_PIN_SET : GPIO_PIN_RESET);
}

// full step servo config
void takeSingleStep(uint8_t clockwise) {
    if (clockwise) {
        current_step_index++;
        if (current_step_index > 3) current_step_index = 0; // Wrap around to the start
    } else {
        current_step_index--;
        if (current_step_index < 0) current_step_index = 3; // Wrap around to the end
    }

    setMotorPins(current_step_index);
}

void rotateToAngle(float angle, uint8_t clockwise) {
    if (stepper_running) return;

    steps_remaining = (uint32_t)((angle / 360.0) * TOTAL_STEPS); // degree scaling
    stepper_direction = clockwise;
    stepper_running = 1;
}

/*
void rotateContinuous(uint8_t clockwise) {
    while (1) {
        takeSingleStep(clockwise);
        HAL_Delay(STEPPER_DELAY);
    }
}
*/

// --- Pump Functions ---
void Pump_Init(void){
	HAL_GPIO_WritePin(PMP_DCM_GPIO_Port, PMP_DCM_Pin, GPIO_PIN_SET);
}

void Pump_Motor_Set(uint8_t state) {
    if (state) {
        HAL_GPIO_WritePin(PMP_DCM_GPIO_Port, PMP_DCM_Pin, GPIO_PIN_RESET);
    } else {
        HAL_GPIO_WritePin(PMP_DCM_GPIO_Port, PMP_DCM_Pin, GPIO_PIN_SET);
    }
}

void Pump_Run(uint32_t duration_ms) {
    Pump_Motor_Set(1);       // Turn pump ON
    HAL_Delay(duration_ms);  // Wait for the requested time
    Pump_Motor_Set(0);       // Turn pump OFF
}

// --- Kettle functions ---
void Kettle_Servo_Move(uint8_t pulse_width) {
    // Uses TIM1 Channel 4 for the servo on PA11
	htim1.Instance->CCR4 = map_servo(pulse_width);
}

void servo_kettle(uint8_t status){
    if(status){
    	Kettle_Servo_Move(KETTLE_UP_PULSE); //values need to be adjusted depending on servo
    }else{
    	Kettle_Servo_Move(KETTLE_DOWN_PULSE);
    }
}

float temp_sensor(void){
    HAL_ADC_Start(&hadc1);
    if (HAL_ADC_PollForConversion(&hadc1, 20) == HAL_OK) {
            temp = HAL_ADC_GetValue(&hadc1);
    }
    HAL_ADC_Stop(&hadc1);

    if (temp ==0){
    	return -999.0f;
    }

    // --- Convert ADC to voltage ---
    float voltage = temp / 4095.0f;

    // --- Known resistor value ---
    float R_fixed = 10000; // 10k

    // --- Calculate thermistor resistance ---
    float R_thermistor = R_fixed * (voltage / (1.0f - voltage));

    // --- Steinhart-Hart (Beta equation) ---
    int Beta = 3950.0f;
    float T0 = 298.15f;      // 25°C in Kelvin
    float R0 = 10000.0f;     // 10k at 25°C

    float tempK = 1.0f / ( (1.0f/T0) + (1.0f/Beta) * log(R_thermistor / R0) );
    tempC = tempK - 273.15f+ 26.0f;

    return tempC;
}

//---Screen Functions---
//initializations
// see screen.h for detailed comments of how the screens work
// see ssd1306.c for details on how the interface level with the screen works
struct Screen* init_home(void){
	// Home screen setup code
	struct Screen *home = malloc(sizeof(struct Screen));

	// Line 1 (empty)
	home->line1 = NULL;
	home->len1 = 0;

	// Line 2
	int tmp12[] = {1,21,20,15,2,1,18};
	home->len2 = 7;
	home->line2 = malloc(sizeof(int) * home->len2);
	for (int i = 0; i < home->len2; i++) home->line2[i] = tmp12[i];

	// Line 3
	int tmp13[] = {19,20,1,18,20};
	home->len3 = 5;
	home->line3 = malloc(sizeof(int) * home->len3);
	for (int i = 0; i < home->len3; i++) home->line3[i] = tmp13[i];

	// Line 4 (empty)
	home->line4 = NULL;
	home->len4 = 0;

	home->state = 0;
	home->size = 1;
	home->invert_offset = 2;
	home->next = home;
	home->previous = home;

	return home;
}
struct Screen* init_drink(void){
	// Drink screen setup code
	struct Screen *drink = malloc(sizeof(struct Screen));

	// Line 1 (coffee)
	int tmp21[] = {28,0,3,15,6,6,5,5};
	drink->len1 = 8;
	drink->line1 = malloc(sizeof(int) * drink->len1);
	for (int i = 0; i < drink->len1; i++) drink->line1[i] = tmp21[i];

	// Line 2 (tea)
	int tmp22[] = {29,0,20,5,1};
	drink->len2 = 5;
	drink->line2 = malloc(sizeof(int) * drink->len2);
	for (int i = 0; i < drink->len2; i++) drink->line2[i] = tmp22[i];

	// Line 3 (water)
	int tmp23[] = {30,0,23,1,20,5,18};
	drink->len3 = 7;
	drink->line3 = malloc(sizeof(int) * drink->len3);
	for (int i = 0; i < drink->len3; i++) drink->line3[i] = tmp23[i];

	// Line 4 (back)
	int tmp24[] = {2,1,3,11,37,37,37};
	drink->len4 = 7;
	drink->line4 = malloc(sizeof(int) * drink->len4);
	for (int i = 0; i < drink->len4; i++) drink->line4[i] = tmp24[i];

	// State and circular links
	drink->state = 0;
	drink->size = 4;
	drink->invert_offset = 0;
	drink->next = drink;
	drink->previous = drink;

	return drink;
}
struct Screen* init_confirm(void){
	// Confirm screen
	struct Screen *confirm = malloc(sizeof(struct Screen));

	// Line 1 (empty)
	confirm->line1 = NULL;
	confirm->len1 = 0;

	// Line 2
	int tmp32[] = {3,15,14,6,9,18,13,38};
	confirm->len2 = 8;
	confirm->line2 = malloc(sizeof(int) * confirm->len2);
	for (int i = 0; i < confirm->len2; i++) confirm->line2[i] = tmp32[i];

	// Line 3
	int tmp33[] = {2,1,3,11,37,37,37};
	confirm->len3 = 7;
	confirm->line3 = malloc(sizeof(int) * confirm->len3);
	for (int i = 0; i < confirm->len3; i++) confirm->line3[i] = tmp33[i];

	// Line 4 (empty)
	confirm->line4 = NULL;
	confirm->len4 = 0;

	confirm->state = 0;
	confirm->size = 2;
	confirm->invert_offset = 1;
	confirm->next = confirm;
	confirm->previous = confirm;

	return confirm;
}
struct Screen* init_prepare(void){
	// Waiting screen
	struct Screen *prepare = malloc(sizeof(struct Screen));

	// Line 1 (empty)
	prepare->line1 = NULL;
	prepare->len1 = 0;

	// Line 2
	int tmp42[] = {16,18,5,16,1,18,9,14,7,37,37,37};
	prepare->len2 = 12;
	prepare->line2 = malloc(sizeof(int) * prepare->len2);
	for (int i = 0; i < prepare->len2; i++) prepare->line2[i] = tmp42[i];

	// Line 3
	prepare->line3 = NULL;
	prepare->len3 = 0;

	// Line 4 (empty)
	prepare->line4 = NULL;
	prepare->len4 = 0;

	prepare->state = 0;
	prepare->size = 1;
	prepare->invert_offset = 1;
	prepare->next = prepare;
	prepare->previous = prepare;

	return prepare;
}

//Print full screen
void Print_Screen(struct Screen* screen){
	  SSD1306_Word(screen->line1, screen->len1, 0);
	  SSD1306_Word(screen->line2, screen->len2, 1);
	  SSD1306_Word(screen->line3, screen->len3, 2);
	  SSD1306_Word(screen->line4, screen->len4, 3);
	  SSD1306_Invert(screen->state+ screen->invert_offset); // highlight selected line
}

//Move to next/previous screen
struct Screen* Advance_Screen(struct Screen* screen, int direction){
	if(direction == 1){
		return screen->next;
	}
	else{
		return screen->previous;
	}
}

//Move next screen specific state (corresponds to selected line)
void Advance_Screen_State(struct Screen* screen, int direction){
	SSD1306_Invert(screen->state+screen->invert_offset); // "erases" highlighting from previous line
	screen->state = (screen->state+screen->size+direction) % screen->size; //advances state variable
	SSD1306_Invert(screen->state+screen->invert_offset); // "highlights" new line
}

//actually makes coffee
void make_coffee(uint8_t order){
	int angle = 0;

	if((order & 0b0100) == 0b0100){ // mask for powder dispenser bit
		// move to powder
		rotateToAngle(POWDER_ANGLE-angle, 1);
		while(stepper_running);
		// track angle
		angle = POWDER_ANGLE;
		// dispense powder
		Dispenser_Run(30);
		HAL_Delay(POWDER_TIME);
		Dispenser_Run(90);
	}
	if((order & 0b0010) == 0b0010){ // mask for tea bag
		// move to tea bag
		if(TEA_BAG_ANGLE-angle > 0){
			rotateToAngle(TEA_BAG_ANGLE-angle,1);
		} else{
			rotateToAngle(angle-TEA_BAG_ANGLE,0);
		}
		while(stepper_running);
		// track angle
		angle = TEA_BAG_ANGLE;
		// dispense tea bag
		dispense_tea();
	}
	if((order & 0b1000) == 0b1000){ // mask for water dispensing
		// move to water
		rotateToAngle(WATER_ANGLE-angle,1);
		while(stepper_running);
		// add amount moved to angle
		angle = WATER_ANGLE;
		// dispense water
		Pump_Run(PUMP_DURATION);
		__HAL_TIM_SET_AUTORELOAD(&htim2,5000);

	}
	if((order & 0b0001) == 0b0001){ // mask for sturring
		// move to sturrer
		if(STUR_ANGLE-angle > 0){
			rotateToAngle(STUR_ANGLE-angle,1);
		} else{
			rotateToAngle(angle-STUR_ANGLE,0);
		}
		while(stepper_running);
		// add amount moved to angle
		angle = STUR_ANGLE;
		// do sturring
		Stirrer_Cycle();
	}
	// move back to starting point
	rotateToAngle(angle+RETURN_ANGLE_BONUS, 0);
	while(stepper_running);
	__HAL_TIM_SET_AUTORELOAD(&htim2, 2200);
}

void HAL_GPIO_EXTI_Callback(uint16_t GPIO_Pin)
{
	uint32_t now = HAL_GetTick(); // take current time

	/*
	 * command table
	 * 0b00: no button
	 * 0b01: up button
	 * 0b10: down button
	 * 0b11: select button
	 */

	// all will check the current time against the last time they were pressed to act as deboucing
	//down
	if (GPIO_Pin == GPIO_PIN_0 && (now - last_press_time[0]) > 250) {
		last_press_time[0] = now;
		command = 0b01;
	}
	//up
	else if (GPIO_Pin == GPIO_PIN_1 && (now - last_press_time[1]) > 250) {
		last_press_time[1] = now;
		command = 0b10;
	}
	// select
	else if (GPIO_Pin == GPIO_PIN_2 && (now - last_press_time[2]) > 250) {
		last_press_time[2] = now;
		command = 0b11;
	}
}

void HAL_TIM_PeriodElapsedCallback(TIM_HandleTypeDef *htim){
	//if(htim->Instance == TIM2){
		if(stepper_running && steps_remaining > 0){
			takeSingleStep(stepper_direction);
			steps_remaining--;

			if(steps_remaining == 0){
				stepper_running = 0;

			    HAL_GPIO_WritePin(COIL_IN1_GPIO_Port, COIL_IN1_Pin, GPIO_PIN_RESET);
			    HAL_GPIO_WritePin(COIL_IN2_GPIO_Port, COIL_IN2_Pin, GPIO_PIN_RESET);
			    HAL_GPIO_WritePin(COIL_IN3_GPIO_Port, COIL_IN3_Pin, GPIO_PIN_RESET);
			    HAL_GPIO_WritePin(COIL_IN4_GPIO_Port, COIL_IN4_Pin, GPIO_PIN_RESET);
			}
		}
	//}
}

/* USER CODE END 4 */

void Error_Handler(void)
{
  __disable_irq();
  while (1)
  {
  }
}
